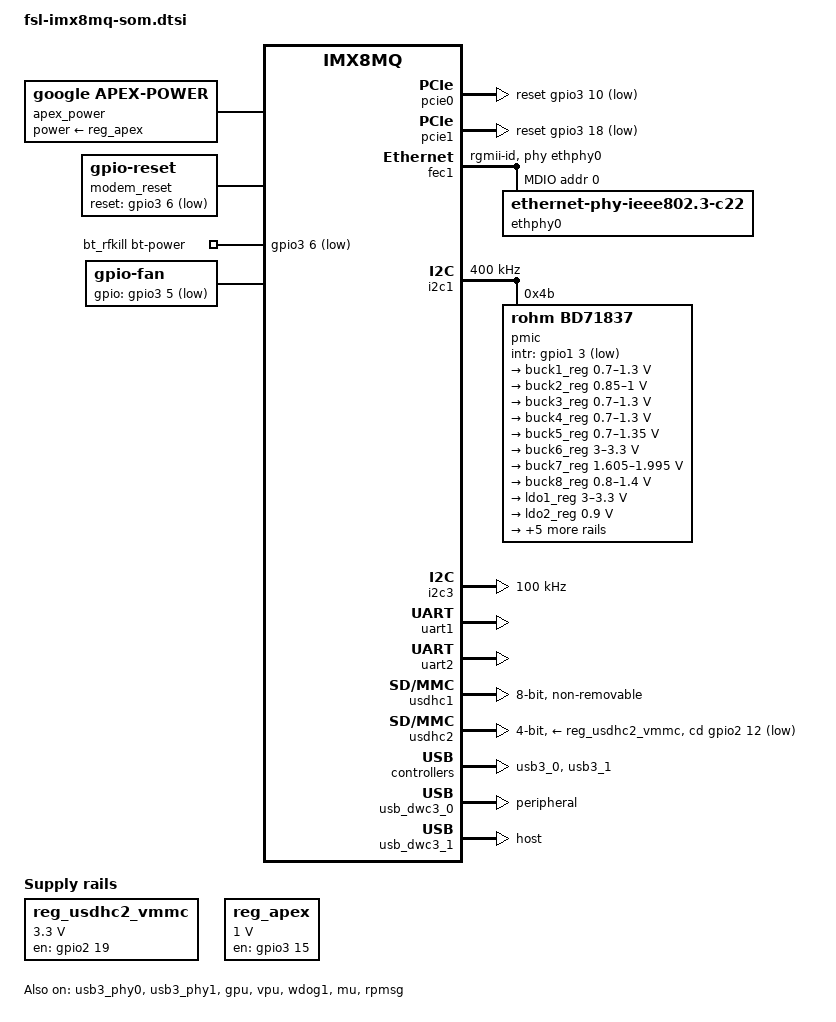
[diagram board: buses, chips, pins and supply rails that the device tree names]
/*
 * Copyright 2017 NXP
 *
 * This program is free software; you can redistribute it and/or
 * modify it under the terms of the GNU General Public License
 * as published by the Free Software Foundation; either version 2
 * of the License, or (at your option) any later version.
 *
 * This program is distributed in the hope that it will be useful,
 * but WITHOUT ANY WARRANTY; without even the implied warranty of
 * MERCHANTABILITY or FITNESS FOR A PARTICULAR PURPOSE.  See the
 * GNU General Public License for more details.
 */

/dts-v1/;

#include "fsl-imx8mq.dtsi"

/ {
	chosen {
		bootargs = "console=ttymxc0,115200 earlycon=ec_imx6q,0x30860000,115200";
		stdout-path = &uart1;
	};

	apex_power {
		compatible = "google,apex-power";
		status = "okay";
		power-supply = <&reg_apex>;
	};

	regulators {
		compatible = "simple-bus";
		#address-cells = <1>;
		#size-cells = <0>;

		reg_usdhc2_vmmc: usdhc2_vmmc {
			compatible = "regulator-fixed";
			regulator-name = "VSD_3V3";
			regulator-min-microvolt = <3300000>;
			regulator-max-microvolt = <3300000>;
			gpio = <&gpio2 19 GPIO_ACTIVE_HIGH>;
			enable-active-high;
		};

		reg_apex: apex_pmic {
			compatible = "regulator-fixed";
			regulator-name = "apex_regulators";
			regulator-min-microvolt = <1000000>;
			regulator-max-microvolt = <1000000>;
			gpio = <&gpio3 15 GPIO_ACTIVE_HIGH>;
			enable-active-high;
			gpio-open-drain;
			regulator-boot-on;
			startup-delay-us = <500000>;
		};
	};

	modem_reset: modem-reset {
		compatible = "gpio-reset";
		reset-gpios = <&gpio3 6 GPIO_ACTIVE_LOW>;
		reset-delay-us = <2000>;
		reset-post-delay-ms = <40>;
		#reset-cells = <0>;
	};

	bt_rfkill {
		compatible = "fsl,mxc_bt_rfkill";
		bt-power-gpios = <&gpio3 6 GPIO_ACTIVE_LOW>;
		status ="okay";
	};

	fan: gpio_fan {
		compatible = "gpio-fan";
		gpios = <&gpio3 5 GPIO_ACTIVE_LOW>;
		gpio-fan,speed-map = <0 0>, <8600 1>;
		#cooling-cells = <2>;
	};
};

&clk {
	assigned-clocks = <&clk IMX8MQ_AUDIO_PLL1>, <&clk IMX8MQ_AUDIO_PLL2>;
	assigned-clock-rates = <786432000>, <722534400>;
};

&iomuxc {
	pinctrl-names = "default";
	pinctrl-0 = <&pinctrl_hog>;

	imx8mq-evk {
		pinctrl_hog: hoggrp {
			fsl,pins = <
				MX8MQ_IOMUXC_NAND_READY_B_GPIO3_IO16		0x19
				MX8MQ_IOMUXC_NAND_WE_B_GPIO3_IO17		0x19
			>;
		};

		pinctrl_fec1: fec1grp {
			fsl,pins = <
				MX8MQ_IOMUXC_ENET_MDC_ENET1_MDC		0x3
				MX8MQ_IOMUXC_ENET_MDIO_ENET1_MDIO	0x23
				MX8MQ_IOMUXC_ENET_TD3_ENET1_RGMII_TD3	0x1f
				MX8MQ_IOMUXC_ENET_TD2_ENET1_RGMII_TD2	0x1f
				MX8MQ_IOMUXC_ENET_TD1_ENET1_RGMII_TD1	0x1f
				MX8MQ_IOMUXC_ENET_TD0_ENET1_RGMII_TD0	0x1f
				MX8MQ_IOMUXC_ENET_RD3_ENET1_RGMII_RD3	0x91
				MX8MQ_IOMUXC_ENET_RD2_ENET1_RGMII_RD2	0x91
				MX8MQ_IOMUXC_ENET_RD1_ENET1_RGMII_RD1	0x91
				MX8MQ_IOMUXC_ENET_RD0_ENET1_RGMII_RD0	0x91
				MX8MQ_IOMUXC_ENET_TXC_ENET1_RGMII_TXC	0x1f
				MX8MQ_IOMUXC_ENET_RXC_ENET1_RGMII_RXC	0x91
				MX8MQ_IOMUXC_ENET_RX_CTL_ENET1_RGMII_RX_CTL	0x91
				MX8MQ_IOMUXC_ENET_TX_CTL_ENET1_RGMII_TX_CTL	0x1f
				MX8MQ_IOMUXC_GPIO1_IO09_GPIO1_IO9	0x19
			>;
		};

		pinctrl_i2c1: i2c1grp {
			fsl,pins = <
				MX8MQ_IOMUXC_I2C1_SCL_I2C1_SCL			0x4000007f
				MX8MQ_IOMUXC_I2C1_SDA_I2C1_SDA			0x4000007f
			>;
		};

		pinctrl_i2c2: i2c2grp {
			fsl,pins = <
				MX8MQ_IOMUXC_I2C2_SCL_I2C2_SCL			0x4000007f
				MX8MQ_IOMUXC_I2C2_SDA_I2C2_SDA			0x4000007f
			>;
		};

		pinctrl_i2c3: i2c3grp {
			fsl,pins = <
				MX8MQ_IOMUXC_I2C3_SCL_I2C3_SCL			0x4000007f
				MX8MQ_IOMUXC_I2C3_SDA_I2C3_SDA			0x4000007f
			>;
		};


		pinctrl_dvfs: dvfsgrp {
			fsl,pins = <
				MX8MQ_IOMUXC_GPIO1_IO13_GPIO1_IO13	0x16
			>;
		};

		pinctrl_typec: typecgrp {
			fsl,pins = <
				MX8MQ_IOMUXC_NAND_ALE_GPIO3_IO0		0x19
			>;
		};

		pinctrl_uart1: uart1grp {
			fsl,pins = <
				MX8MQ_IOMUXC_UART1_RXD_UART1_DCE_RX		0x49
				MX8MQ_IOMUXC_UART1_TXD_UART1_DCE_TX		0x49
			>;
		};

		pinctrl_uart2: uart2grp {
			fsl,pins = <
				MX8MQ_IOMUXC_UART2_RXD_UART2_DCE_RX		 0x49
				MX8MQ_IOMUXC_UART2_TXD_UART2_DCE_TX		 0x49
				MX8MQ_IOMUXC_UART4_RXD_UART2_DCE_CTS_B 0x49
				MX8MQ_IOMUXC_UART4_TXD_UART2_DCE_RTS_B 0x49
				MX8MQ_IOMUXC_NAND_DATA00_GPIO3_IO6     0x19 /* BT_EN */
			>;
		};

		pinctrl_usdhc1: usdhc1grp {
			fsl,pins = <
				MX8MQ_IOMUXC_SD1_CLK_USDHC1_CLK			0x83
				MX8MQ_IOMUXC_SD1_CMD_USDHC1_CMD			0xc3
				MX8MQ_IOMUXC_SD1_DATA0_USDHC1_DATA0		0xc3
				MX8MQ_IOMUXC_SD1_DATA1_USDHC1_DATA1		0xc3
				MX8MQ_IOMUXC_SD1_DATA2_USDHC1_DATA2		0xc3
				MX8MQ_IOMUXC_SD1_DATA3_USDHC1_DATA3		0xc3
				MX8MQ_IOMUXC_SD1_DATA4_USDHC1_DATA4		0xc3
				MX8MQ_IOMUXC_SD1_DATA5_USDHC1_DATA5		0xc3
				MX8MQ_IOMUXC_SD1_DATA6_USDHC1_DATA6		0xc3
				MX8MQ_IOMUXC_SD1_DATA7_USDHC1_DATA7		0xc3
				MX8MQ_IOMUXC_SD1_STROBE_USDHC1_STROBE		0x83
				MX8MQ_IOMUXC_SD1_RESET_B_USDHC1_RESET_B		0xc1
			>;
		};

		pinctrl_usdhc1_100mhz: usdhc1grp100mhz {
			fsl,pins = <
				MX8MQ_IOMUXC_SD1_CLK_USDHC1_CLK			0x85
				MX8MQ_IOMUXC_SD1_CMD_USDHC1_CMD			0xc5
				MX8MQ_IOMUXC_SD1_DATA0_USDHC1_DATA0		0xc5
				MX8MQ_IOMUXC_SD1_DATA1_USDHC1_DATA1		0xc5
				MX8MQ_IOMUXC_SD1_DATA2_USDHC1_DATA2		0xc5
				MX8MQ_IOMUXC_SD1_DATA3_USDHC1_DATA3		0xc5
				MX8MQ_IOMUXC_SD1_DATA4_USDHC1_DATA4		0xc5
				MX8MQ_IOMUXC_SD1_DATA5_USDHC1_DATA5		0xc5
				MX8MQ_IOMUXC_SD1_DATA6_USDHC1_DATA6		0xc5
				MX8MQ_IOMUXC_SD1_DATA7_USDHC1_DATA7		0xc5
				MX8MQ_IOMUXC_SD1_STROBE_USDHC1_STROBE		0x85
				MX8MQ_IOMUXC_SD1_RESET_B_USDHC1_RESET_B		0xc1
			>;
		};

		pinctrl_usdhc1_200mhz: usdhc1grp200mhz {
			fsl,pins = <
				MX8MQ_IOMUXC_SD1_CLK_USDHC1_CLK			0x87
				MX8MQ_IOMUXC_SD1_CMD_USDHC1_CMD			0xc7
				MX8MQ_IOMUXC_SD1_DATA0_USDHC1_DATA0		0xc7
				MX8MQ_IOMUXC_SD1_DATA1_USDHC1_DATA1		0xc7
				MX8MQ_IOMUXC_SD1_DATA2_USDHC1_DATA2		0xc7
				MX8MQ_IOMUXC_SD1_DATA3_USDHC1_DATA3		0xc7
				MX8MQ_IOMUXC_SD1_DATA4_USDHC1_DATA4		0xc7
				MX8MQ_IOMUXC_SD1_DATA5_USDHC1_DATA5		0xc7
				MX8MQ_IOMUXC_SD1_DATA6_USDHC1_DATA6		0xc7
				MX8MQ_IOMUXC_SD1_DATA7_USDHC1_DATA7		0xc7
				MX8MQ_IOMUXC_SD1_STROBE_USDHC1_STROBE		0x87
				MX8MQ_IOMUXC_SD1_RESET_B_USDHC1_RESET_B		0xc1
			>;
		};

		pinctrl_usdhc2_gpio: usdhc2grpgpio {
			fsl,pins = <
				MX8MQ_IOMUXC_SD2_CD_B_GPIO2_IO12	0x41
				MX8MQ_IOMUXC_SD2_RESET_B_GPIO2_IO19	0x41
			>;
		};

		pinctrl_usdhc2: usdhc2grp {
			fsl,pins = <
				MX8MQ_IOMUXC_SD2_CLK_USDHC2_CLK			0x83
				MX8MQ_IOMUXC_SD2_CMD_USDHC2_CMD			0xc3
				MX8MQ_IOMUXC_SD2_DATA0_USDHC2_DATA0		0xc3
				MX8MQ_IOMUXC_SD2_DATA1_USDHC2_DATA1		0xc3
				MX8MQ_IOMUXC_SD2_DATA2_USDHC2_DATA2		0xc3
				MX8MQ_IOMUXC_SD2_DATA3_USDHC2_DATA3		0xc3
				MX8MQ_IOMUXC_GPIO1_IO04_USDHC2_VSELECT		0xc1
			>;
		};

		pinctrl_usdhc2_100mhz: usdhc2grp100mhz {
			fsl,pins = <
				MX8MQ_IOMUXC_SD2_CLK_USDHC2_CLK			0x85
				MX8MQ_IOMUXC_SD2_CMD_USDHC2_CMD			0xc5
				MX8MQ_IOMUXC_SD2_DATA0_USDHC2_DATA0		0xc5
				MX8MQ_IOMUXC_SD2_DATA1_USDHC2_DATA1		0xc5
				MX8MQ_IOMUXC_SD2_DATA2_USDHC2_DATA2		0xc5
				MX8MQ_IOMUXC_SD2_DATA3_USDHC2_DATA3		0xc5
				MX8MQ_IOMUXC_GPIO1_IO04_USDHC2_VSELECT		0xc1
			>;
		};

		pinctrl_usdhc2_200mhz: usdhc2grp200mhz {
			fsl,pins = <
				MX8MQ_IOMUXC_SD2_CLK_USDHC2_CLK			0x87
				MX8MQ_IOMUXC_SD2_CMD_USDHC2_CMD			0xc7
				MX8MQ_IOMUXC_SD2_DATA0_USDHC2_DATA0		0xc7
				MX8MQ_IOMUXC_SD2_DATA1_USDHC2_DATA1		0xc7
				MX8MQ_IOMUXC_SD2_DATA2_USDHC2_DATA2		0xc7
				MX8MQ_IOMUXC_SD2_DATA3_USDHC2_DATA3		0xc7
				MX8MQ_IOMUXC_GPIO1_IO04_USDHC2_VSELECT		0xc1
			>;
		};

		pinctrl_wdog: wdoggrp {
			fsl,pins = <
				MX8MQ_IOMUXC_GPIO1_IO02_WDOG1_WDOG_B 0xc6
			>;
		};
		pinctrl_pmic: pmicirq {
			fsl,pins = <
				MX8MQ_IOMUXC_GPIO1_IO03_GPIO1_IO3	0x41 /*0x17059*/
			>;
		};
	  pinctrl_mipi_dsi_en: mipi_dsi_en {
			fsl,pins = <
				MX8MQ_IOMUXC_ECSPI1_SCLK_GPIO5_IO6	0x16
			>;
		};
	};

	imx8mq-phanbell {
		pinctrl_pcie0: pcie0grp {
			fsl,pins = <
				MX8MQ_IOMUXC_I2C4_SCL_PCIE1_CLKREQ_B        0x76 /* open drain, pull up */
				MX8MQ_IOMUXC_NAND_DATA05_GPIO3_IO11     0x16 /* Disable - wl_regon */
				MX8MQ_IOMUXC_NAND_DATA04_GPIO3_IO10     0x16 /* Reset - wl_nreset */
				MX8MQ_IOMUXC_GPIO1_IO00_ANAMIX_REF_CLK_32K      0x05
			>;
		};

		pinctrl_pcie1: pcie1grp {
		 fsl,pins = <
			 MX8MQ_IOMUXC_I2C4_SDA_PCIE2_CLKREQ_B	0x76 /* open drain, pull up */
			 MX8MQ_IOMUXC_NAND_WP_B_GPIO3_IO18       0x19 /* APEX_SYS_RST_L */
		 >;
		};
	};
};

&pcie0 {
	pinctrl-names = "default";
	pinctrl-0 = <&pinctrl_pcie0>;
	disable-gpio = <&gpio3 11 GPIO_ACTIVE_LOW>;
	reset-gpio = <&gpio3 10 GPIO_ACTIVE_LOW>;
	fsl,max-link-speed = <1>;
	status = "okay";
};

&pcie1 {
	pinctrl-names = "default";
	pinctrl-0 = <&pinctrl_pcie1>;
	reset-gpio = <&gpio3 18 GPIO_ACTIVE_LOW>;
	ext_osc = <1>;
	hard-wired = <1>;
	status = "okay";
};

&fec1 {
	pinctrl-names = "default";
	pinctrl-0 = <&pinctrl_fec1>;
	phy-mode = "rgmii-id";
	phy-handle = <&ethphy0>;
	fsl,magic-packet;
	status = "okay";

	mdio {
		#address-cells = <1>;
		#size-cells = <0>;

		ethphy0: ethernet-phy@0 {
			compatible = "ethernet-phy-ieee802.3-c22";
			reg = <0>;
			at803x,led-act-blind-workaround;
			at803x,eee-disabled;
		};
	};
};

&i2c1 {
	clock-frequency = <400000>;
	pinctrl-names = "default";
	pinctrl-0 = <&pinctrl_i2c1>;
	status = "okay";

	pmic: bd71837@4b {
		reg = <0x4b>;
		compatible = "rohm,bd71837";
		/* PMIC BD71837 PMIC_nINT GPIO1_IO12 */
		pinctrl-0 = <&pinctrl_pmic>;
		gpio_intr = <&gpio1 3 GPIO_ACTIVE_LOW>;

		bd71837,pmic-buck1-uses-i2c-dvs;
		bd71837,pmic-buck1-dvs-voltage = <900000>, <900000>, <800000>; /* VDD_SOC: Run-Idle-Suspend */
		bd71837,pmic-buck2-uses-i2c-dvs;
		bd71837,pmic-buck2-dvs-voltage = <1000000>, <900000>, <0>; /* VDD_ARM: Run-Idle */
		bd71837,pmic-buck3-uses-i2c-dvs;
		bd71837,pmic-buck3-dvs-voltage = <900000>, <0>, <0>; /* VDD_GPU: Run */
		bd71837,pmic-buck4-uses-i2c-dvs;
		bd71837,pmic-buck4-dvs-voltage = <900000>, <0>, <0>; /* VDD_VPU: Run */

		gpo {
			rohm,drv = <0x0C>;	/* 0b0000_1100 all gpos with cmos output mode */
		};

		regulators {
			#address-cells = <1>;
			#size-cells = <0>;

			buck1_reg: regulator@0 {
				reg = <0>;
				regulator-compatible = "buck1";
				regulator-min-microvolt = <700000>;
				regulator-max-microvolt = <1300000>;
				regulator-boot-on;
				regulator-always-on;
				regulator-ramp-delay = <1250>;
			};

			buck2_reg: regulator@1 {
				reg = <1>;
				regulator-compatible = "buck2";
				regulator-min-microvolt = <850000>;
				regulator-max-microvolt = <1000000>;
				regulator-boot-on;
				regulator-always-on;
			};

			buck3_reg: regulator@2 {
				reg = <2>;
				regulator-compatible = "buck3";
				regulator-min-microvolt = <700000>;
				regulator-max-microvolt = <1300000>;
				regulator-boot-on;
			};

			buck4_reg: regulator@3 {
				reg = <3>;
				regulator-compatible = "buck4";
				regulator-min-microvolt = <700000>;
				regulator-max-microvolt = <1300000>;
				regulator-boot-on;
			};

			buck5_reg: regulator@4 {
				reg = <4>;
				regulator-compatible = "buck5";
				regulator-min-microvolt = <700000>;
				regulator-max-microvolt = <1350000>;
				regulator-boot-on;
				regulator-always-on;
			};

			buck6_reg: regulator@5 {
				reg = <5>;
				regulator-compatible = "buck6";
				regulator-min-microvolt = <3000000>;
				regulator-max-microvolt = <3300000>;
				regulator-boot-on;
				regulator-always-on;
			};

			buck7_reg: regulator@6 {
				reg = <6>;
				regulator-compatible = "buck7";
				regulator-min-microvolt = <1605000>;
				regulator-max-microvolt = <1995000>;
				regulator-boot-on;
				regulator-always-on;
			};

			buck8_reg: regulator@7 {
				reg = <7>;
				regulator-compatible = "buck8";
				regulator-min-microvolt = <800000>;
				regulator-max-microvolt = <1400000>;
				regulator-boot-on;
				regulator-always-on;
			};

			ldo1_reg: regulator@8 {
				reg = <8>;
				regulator-compatible = "ldo1";
				regulator-min-microvolt = <3000000>;
				regulator-max-microvolt = <3300000>;
				regulator-boot-on;
				regulator-always-on;
			};

			ldo2_reg: regulator@9 {
				reg = <9>;
				regulator-compatible = "ldo2";
				regulator-min-microvolt = <900000>;
				regulator-max-microvolt = <900000>;
				regulator-boot-on;
				regulator-always-on;
			};

			ldo3_reg: regulator@10 {
				reg = <10>;
				regulator-compatible = "ldo3";
				regulator-min-microvolt = <1800000>;
				regulator-max-microvolt = <3300000>;
				regulator-boot-on;
				regulator-always-on;
			};

			ldo4_reg: regulator@11 {
				reg = <11>;
				regulator-compatible = "ldo4";
				regulator-min-microvolt = <900000>;
				regulator-max-microvolt = <1800000>;
				regulator-boot-on;
				regulator-always-on;
			};

			ldo5_reg: regulator@12 {
				reg = <12>;
				regulator-compatible = "ldo5";
				regulator-min-microvolt = <1800000>;
				regulator-max-microvolt = <3300000>;
				regulator-boot-on;
				regulator-always-on;
			};

			ldo6_reg: regulator@13 {
				reg = <13>;
				regulator-compatible = "ldo6";
				regulator-min-microvolt = <900000>;
				regulator-max-microvolt = <1800000>;
				regulator-boot-on;
				regulator-always-on;
			};

			ldo7_reg: regulator@14 {
				reg = <14>;
				regulator-compatible = "ldo7";
				regulator-min-microvolt = <1800000>;
				regulator-max-microvolt = <3300000>;
				regulator-boot-on;
				regulator-always-on;
			};
		};
	};
};

&i2c2 {
	clock-frequency = <100000>;
	pinctrl-names = "default";
	pinctrl-0 = <&pinctrl_i2c2>;
	status = "disabled";
};

&i2c3 {
	clock-frequency = <100000>;
	pinctrl-names = "default";
	pinctrl-0 = <&pinctrl_i2c3>;
	status = "okay";
};

&uart1 { /* console */
	pinctrl-names = "default";
	pinctrl-0 = <&pinctrl_uart1>;
	assigned-clocks = <&clk IMX8MQ_CLK_UART1_SRC>;
	assigned-clock-parents = <&clk IMX8MQ_CLK_25M>;
	status = "okay";
};

&uart2 { /* BT */
	pinctrl-names = "default";
	pinctrl-0 = <&pinctrl_uart2>;
	assigned-clocks = <&clk IMX8MQ_CLK_UART2_SRC>;
	assigned-clock-parents = <&clk IMX8MQ_SYS1_PLL_80M>;
	fsl,uart-has-rtscts;
	resets = <&modem_reset>;
	status = "okay";
};

&usdhc1 {
	pinctrl-names = "default", "state_100mhz", "state_200mhz";
	pinctrl-0 = <&pinctrl_usdhc1>;
	pinctrl-1 = <&pinctrl_usdhc1_100mhz>;
	pinctrl-2 = <&pinctrl_usdhc1_200mhz>;
	bus-width = <8>;
	non-removable;
	status = "okay";
};

&usdhc2 {
	pinctrl-names = "default", "state_100mhz", "state_200mhz";
	pinctrl-0 = <&pinctrl_usdhc2>, <&pinctrl_usdhc2_gpio>;
	pinctrl-1 = <&pinctrl_usdhc2_100mhz>, <&pinctrl_usdhc2_gpio>;
	pinctrl-2 = <&pinctrl_usdhc2_200mhz>, <&pinctrl_usdhc2_gpio>;
	bus-width = <4>;
	cd-gpios = <&gpio2 12 GPIO_ACTIVE_LOW>;
	vmmc-supply = <&reg_usdhc2_vmmc>;
	status = "okay";
};

&usb3_phy0 {
	status = "okay";
};

&usb3_0 {
	status = "okay";
};

&usb_dwc3_0 {
	status = "okay";
	dr_mode = "peripheral";
};

&usb3_phy1 {
	status = "okay";
};

&usb3_1 {
	status = "okay";
};

&usb_dwc3_1 {
	status = "okay";
	dr_mode = "host";
};

&gpu_pd {
	power-supply = <&buck3_reg>;
};

&vpu_pd {
	power-supply = <&buck4_reg>;
};

&gpu {
	status = "okay";
};

&vpu {
	regulator-supply = <&buck4_reg>;
	status = "okay";
};

&wdog1 {
	pinctrl-names = "default";
	pinctrl-0 = <&pinctrl_wdog>;
	fsl,ext-reset-output;
	status = "okay";
};

&mu {
	status = "okay";
};

&rpmsg{
	/*
	 * 64K for one rpmsg instance:
	 * --0xb8000000~0xb800ffff: pingpong
	 */
	vdev-nums = <1>;
	reg = <0x0 0xb8000000 0x0 0x10000>;
	status = "okay";
};

&A53_0 {
	operating-points = <
		/* kHz    uV */
		1500000 1000000
		1000000 850000
		500000  850000
	>;
	dc-supply = <&buck2_reg>;
};

&hdmi {
	status = "disabled";
};

&hdmi_cec {
	status = "disabled";
};

&dcss {
	status = "disabled";
	disp-dev = "mipi_disp";

	assigned-clocks = <&clk IMX8MQ_CLK_DISP_AXI_SRC>,
			  <&clk IMX8MQ_CLK_DISP_RTRM_SRC>,
			  <&clk IMX8MQ_CLK_DISP_RTRM_PRE_DIV>,
			  <&clk IMX8MQ_CLK_DC_PIXEL_SRC>,
			  <&clk IMX8MQ_VIDEO_PLL1_REF_SEL>,
			  <&clk IMX8MQ_VIDEO_PLL1>;
	assigned-clock-parents = <&clk IMX8MQ_SYS1_PLL_800M>,
				 <&clk IMX8MQ_SYS1_PLL_800M>,
				 <&clk IMX8MQ_CLK_DISP_RTRM_CG>,
				 <&clk IMX8MQ_VIDEO_PLL1_OUT>,
				 <&clk IMX8MQ_CLK_25M>;
	assigned-clock-rates = <800000000>,
			       <400000000>,
			       <400000000>,
			       <120000000>,
			       <0>,
			       <599999999>;

	dcss_disp0: port@0 {
		reg = <0>;

		dcss_disp0_mipi_dsi: mipi_dsi {
			remote-endpoint = <&mipi_dsi_in>;
		};
	};
};

&mipi_dsi {
	status = "disabled";
	assigned-clocks = <&clk IMX8MQ_CLK_DSI_PHY_REF_SRC>,
			  <&clk IMX8MQ_CLK_DSI_CORE_SRC>,
			  <&clk IMX8MQ_VIDEO_PLL1_REF_SEL>,
			  <&clk IMX8MQ_VIDEO_PLL1>;
	assigned-clock-parents = <&clk IMX8MQ_VIDEO_PLL1_OUT>,
				 <&clk IMX8MQ_SYS1_PLL_266M>,
				 <&clk IMX8MQ_CLK_25M>;
	assigned-clock-rates = <24000000>,
			       <266000000>,
			       <0>,
			       <599999999>;

	port@1 {
		mipi_dsi_in: endpoint {
			remote-endpoint = <&dcss_disp0_mipi_dsi>;
		};
	};

};

&mipi_dsi_bridge {
	status = "disabled";

	panel@0 {
		compatible = "raydium,rm67191";
		reg = <0>;
		pinctrl-0 = <&pinctrl_mipi_dsi_en>;
		reset-gpio = <&gpio5 6 GPIO_ACTIVE_HIGH>;
		dsi-lanes = <4>;
		panel-width-mm = <68>;
		panel-height-mm = <121>;
		port {
			panel1_in: endpoint {
				remote-endpoint = <&mipi_dsi_bridge_out>;
			};
		};
	};

	port@1 {
		mipi_dsi_bridge_out: endpoint {
			remote-endpoint = <&panel1_in>;
		};
	};
};

&cpu_thermal {
	trips {
		fan_toggle0: trip4 {
			temperature = <65000>;
			hysteresis = <10000>;
			type = "active";
		};
	};

	cooling-maps {
		map4 {
			trip = <&fan_toggle0>;
			cooling-device = <&fan 0 1>;
		};
	};
};
